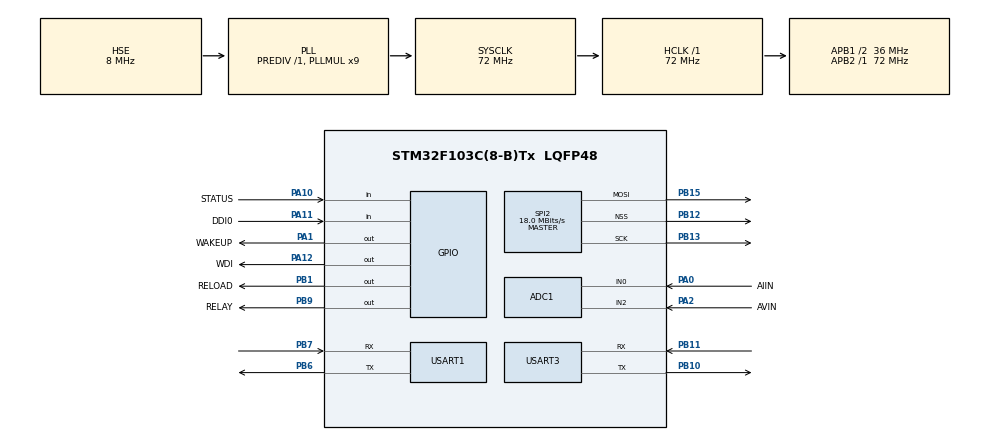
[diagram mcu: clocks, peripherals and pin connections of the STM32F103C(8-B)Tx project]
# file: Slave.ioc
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ADC1.Channel-0\#ChannelRegularConversion=ADC_CHANNEL_0
ADC1.Channel-1\#ChannelRegularConversion=ADC_CHANNEL_2
ADC1.ContinuousConvMode=ENABLE
ADC1.NbrOfConversion=2
ADC1.NbrOfConversionFlag=1
ADC1.Rank-0\#ChannelRegularConversion=1
ADC1.Rank-1\#ChannelRegularConversion=2
ADC1.SamplingTime-0\#ChannelRegularConversion=ADC_SAMPLETIME_71CYCLES_5
ADC1.SamplingTime-1\#ChannelRegularConversion=ADC_SAMPLETIME_71CYCLES_5
ADC1.master=1
Dma.ADC1.2.Direction=DMA_PERIPH_TO_MEMORY
Dma.ADC1.2.Instance=DMA1_Channel1
Dma.ADC1.2.MemDataAlignment=DMA_MDATAALIGN_WORD
Dma.ADC1.2.MemInc=DMA_MINC_ENABLE
Dma.ADC1.2.Mode=DMA_NORMAL
Dma.ADC1.2.PeriphDataAlignment=DMA_PDATAALIGN_WORD
Dma.ADC1.2.PeriphInc=DMA_PINC_DISABLE
Dma.ADC1.2.Priority=DMA_PRIORITY_MEDIUM
Dma.Request0=USART3_TX
Dma.Request1=USART3_RX
Dma.Request2=ADC1
Dma.USART3_RX.1.Direction=DMA_PERIPH_TO_MEMORY
Dma.USART3_RX.1.Instance=DMA1_Channel3
Dma.USART3_RX.1.MemDataAlignment=DMA_MDATAALIGN_BYTE
Dma.USART3_RX.1.MemInc=DMA_MINC_ENABLE
Dma.USART3_RX.1.Mode=DMA_NORMAL
Dma.USART3_RX.1.PeriphDataAlignment=DMA_PDATAALIGN_BYTE
Dma.USART3_RX.1.PeriphInc=DMA_PINC_DISABLE
Dma.USART3_RX.1.Priority=DMA_PRIORITY_HIGH
Dma.USART3_TX.0.Direction=DMA_MEMORY_TO_PERIPH
Dma.USART3_TX.0.Instance=DMA1_Channel2
Dma.USART3_TX.0.MemDataAlignment=DMA_MDATAALIGN_BYTE
Dma.USART3_TX.0.MemInc=DMA_MINC_ENABLE
Dma.USART3_TX.0.Mode=DMA_NORMAL
Dma.USART3_TX.0.PeriphDataAlignment=DMA_PDATAALIGN_BYTE
Dma.USART3_TX.0.PeriphInc=DMA_PINC_DISABLE
Dma.USART3_TX.0.Priority=DMA_PRIORITY_MEDIUM
FREERTOS.BinarySemaphores01=Recive,Dynamic,NULL
FREERTOS.Mutexes01=shellMutex,Dynamic,NULL
FREERTOS.Tasks01=shell,-2,256,Shell_Task,Default,&shell,Dynamic,NULL,NULL;modbus,-1,128,Modbus_Task,Default,NULL,Dynamic,NULL,NULL;io_output,0,128,Io_Output_Task,Default,NULL,Dynamic,NULL,NULL;at,-3,128,At_Task,Default,NULL,Dynamic,NULL,NULL
FREERTOS.Timers01=Timer1,Timer_Callback,osTimerPeriodic,Default,NULL,Dynamic,NULL
FREERTOS.configCHECK_FOR_STACK_OVERFLOW=2
FREERTOS.configMINIMAL_STACK_SIZE=64
FREERTOS.configTOTAL_HEAP_SIZE=8192
FREERTOS.configUSE_TIMERS=1
Mcu.Family=STM32F1
Mcu.Name=STM32F103C(8-B)Tx
Mcu.Package=LQFP48
NVIC.DMA1_Channel1_IRQn=true\:5\:0\:false\:false\:true\:true\:false\:true
NVIC.DMA1_Channel2_IRQn=true\:5\:0\:false\:false\:true\:true\:false\:true
NVIC.DMA1_Channel3_IRQn=true\:5\:0\:false\:false\:true\:true\:false\:true
NVIC.PriorityGroup=NVIC_PRIORITYGROUP_4
NVIC.TIM1_UP_IRQn=true\:0\:0\:false\:false\:true\:false\:false\:true
NVIC.TimeBase=TIM1_UP_IRQn
NVIC.TimeBaseIP=TIM1
NVIC.USART3_IRQn=true\:5\:0\:false\:false\:true\:true\:true\:true
PA0-WKUP.GPIO_Label=AIIN
PA0-WKUP.Signal=ADCx_IN0
PA1.GPIO_Label=WAKEUP
PA1.GPIO_PuPd=GPIO_PULLUP
PA1.GPIO_Speed=GPIO_SPEED_FREQ_LOW
PA1.PinState=GPIO_PIN_SET
PA1.Signal=GPIO_Output
PA10.GPIO_Label=STATUS
PA10.GPIO_PuPd=GPIO_PULLUP
PA10.Signal=GPIO_Input
PA11.GPIO_Label=DDI0
PA11.GPIO_PuPd=GPIO_PULLUP
PA11.Signal=GPIO_Input
PA12.GPIO_Label=WDI
PA12.GPIO_PuPd=GPIO_PULLUP
PA12.GPIO_Speed=GPIO_SPEED_FREQ_HIGH
PA12.PinState=GPIO_PIN_SET
PA12.Signal=GPIO_Output
PA13.Mode=Serial_Wire
PA13.Signal=SYS_JTMS-SWDIO
PA14.Mode=Serial_Wire
PA14.Signal=SYS_JTCK-SWCLK
PA2.GPIO_Label=AVIN
PA2.Signal=ADCx_IN2
PB1.GPIO_Label=RELOAD
PB1.GPIO_PuPd=GPIO_PULLUP
PB1.PinState=GPIO_PIN_SET
PB1.Signal=GPIO_Output
PB10.Mode=Asynchronous
PB10.Signal=USART3_TX
PB11.Mode=Asynchronous
PB11.Signal=USART3_RX
PB12.Mode=NSS_Signal_Hard_Output
PB12.Signal=SPI2_NSS
PB13.Mode=TX_Only_Simplex_Unidirect_Master
PB13.Signal=SPI2_SCK
PB15.Mode=TX_Only_Simplex_Unidirect_Master
PB15.Signal=SPI2_MOSI
PB6.Mode=Asynchronous
PB6.Signal=USART1_TX
PB7.Mode=Asynchronous
PB7.Signal=USART1_RX
PB9.GPIO_Label=RELAY
PB9.GPIO_PuPd=GPIO_PULLDOWN
PB9.GPIO_Speed=GPIO_SPEED_FREQ_HIGH
PB9.Signal=GPIO_Output
PC14-OSC32_IN.Mode=LSE-External-Oscillator
PC14-OSC32_IN.Signal=RCC_OSC32_IN
PC15-OSC32_OUT.Mode=LSE-External-Oscillator
PC15-OSC32_OUT.Signal=RCC_OSC32_OUT
PD0-OSC_IN.Mode=HSE-External-Oscillator
PD0-OSC_IN.Signal=RCC_OSC_IN
PD1-OSC_OUT.Mode=HSE-External-Oscillator
PD1-OSC_OUT.Signal=RCC_OSC_OUT
ProjectManager.HeapSize=0x200
ProjectManager.StackSize=0x800
ProjectManager.TargetToolchain=MDK-ARM V5.27
RCC.ADCPresc=RCC_ADCPCLK2_DIV6
RCC.AHBFreq_Value=72000000
RCC.APB1CLKDivider=RCC_HCLK_DIV2
RCC.APB1Freq_Value=36000000
RCC.APB1TimFreq_Value=72000000
RCC.APB2Freq_Value=72000000
RCC.APB2TimFreq_Value=72000000
RCC.HCLKFreq_Value=72000000
RCC.PLLMUL=RCC_PLL_MUL9
RCC.PLLSourceVirtual=RCC_PLLSOURCE_HSE
RCC.SYSCLKFreq_VALUE=72000000
RCC.SYSCLKSource=RCC_SYSCLKSOURCE_PLLCLK
RCC.USBFreq_Value=72000000
SH.ADCx_IN0.0=ADC1_IN0,IN0
SH.ADCx_IN2.0=ADC1_IN2,IN2
SPI2.CalculateBaudRate=18.0 MBits/s
SPI2.DataSize=SPI_DATASIZE_16BIT
SPI2.Direction=SPI_DIRECTION_2LINES
SPI2.Mode=SPI_MODE_MASTER
SPI2.VirtualNSS=VM_NSSHARD
SPI2.VirtualType=VM_MASTER
USART1.VirtualMode=VM_ASYNC
USART3.VirtualMode=VM_ASYNC
VP_FREERTOS_VS_CMSIS_V1.Mode=CMSIS_V1
VP_SYS_VS_tim1.Mode=TIM1
board=custom

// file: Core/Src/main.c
/* USER CODE BEGIN Header */
/**
  ******************************************************************************
  * @file           : main.c
  * @brief          : Main program body
  ******************************************************************************
  * @attention
  *
  * <h2><center>&copy; Copyright (c) 2022 STMicroelectronics.
  * All rights reserved.</center></h2>
  *
  * This software component is licensed by ST under Ultimate Liberty license
  * SLA0044, the "License"; You may not use this file except in compliance with
  * the License. You may obtain a copy of the License at:
  *                             www.st.com/SLA0044
  *
  ******************************************************************************
  */
/* USER CODE END Header */
#include "main.h"
#include "cmsis_os.h"
#include "adc.h"
#include "dma.h"
#include "spi.h"
#include "usart.h"
#include "gpio.h"

/* USER CODE BEGIN Includes */
#include "shell_port.h"
#include "mdrtuslave.h"
/* USER CODE END Includes */

void SystemClock_Config(void);
void MX_FREERTOS_Init(void);

int main(void)
{

  /* MCU Configuration--------------------------------------------------------*/

  /* Reset of all peripherals, Initializes the Flash interface and the Systick. */
  HAL_Init();

  /* Configure the system clock */
  SystemClock_Config();

  /* Initialize all configured peripherals */
  MX_GPIO_Init();
  MX_DMA_Init();
  MX_USART3_UART_Init();
  MX_ADC1_Init();
  MX_SPI2_Init();
  MX_USART1_UART_Init();
  /* USER CODE BEGIN 2 */
  User_Shell_Init();
  ModbusInit();
  HAL_ADC_Start_DMA(&hadc1, (uint32_t *)Adc_buffer, ADC_DMA_SIZE);
  /* USER CODE END 2 */

  /* Call init function for freertos objects (in freertos.c) */
  MX_FREERTOS_Init();
  /* Start scheduler */
  osKernelStart();

  /* We should never get here as control is now taken by the scheduler */
  /* Infinite loop */
  while (1)
  {

  }
}

void SystemClock_Config(void)
{
  RCC_OscInitTypeDef RCC_OscInitStruct = {0};
  RCC_ClkInitTypeDef RCC_ClkInitStruct = {0};
  RCC_PeriphCLKInitTypeDef PeriphClkInit = {0};

  /** Initializes the RCC Oscillators according to the specified parameters
  * in the RCC_OscInitTypeDef structure.
  */
  RCC_OscInitStruct.OscillatorType = RCC_OSCILLATORTYPE_HSE;
  RCC_OscInitStruct.HSEState = RCC_HSE_ON;
  RCC_OscInitStruct.HSEPredivValue = RCC_HSE_PREDIV_DIV1;
  RCC_OscInitStruct.HSIState = RCC_HSI_ON;
  RCC_OscInitStruct.PLL.PLLState = RCC_PLL_ON;
  RCC_OscInitStruct.PLL.PLLSource = RCC_PLLSOURCE_HSE;
  RCC_OscInitStruct.PLL.PLLMUL = RCC_PLL_MUL9;
  if (HAL_RCC_OscConfig(&RCC_OscInitStruct) != HAL_OK)
  {
    Error_Handler();
  }
  /** Initializes the CPU, AHB and APB buses clocks
  */
  RCC_ClkInitStruct.ClockType = RCC_CLOCKTYPE_HCLK|RCC_CLOCKTYPE_SYSCLK
                              |RCC_CLOCKTYPE_PCLK1|RCC_CLOCKTYPE_PCLK2;
  RCC_ClkInitStruct.SYSCLKSource = RCC_SYSCLKSOURCE_PLLCLK;
  RCC_ClkInitStruct.AHBCLKDivider = RCC_SYSCLK_DIV1;
  RCC_ClkInitStruct.APB1CLKDivider = RCC_HCLK_DIV2;
  RCC_ClkInitStruct.APB2CLKDivider = RCC_HCLK_DIV1;

  if (HAL_RCC_ClockConfig(&RCC_ClkInitStruct, FLASH_LATENCY_2) != HAL_OK)
  {
    Error_Handler();
  }
  PeriphClkInit.PeriphClockSelection = RCC_PERIPHCLK_ADC;
  PeriphClkInit.AdcClockSelection = RCC_ADCPCLK2_DIV6;
  if (HAL_RCCEx_PeriphCLKConfig(&PeriphClkInit) != HAL_OK)
  {
    Error_Handler();
  }
}

 /**
  * @brief  Period elapsed callback in non blocking mode
  * @note   This function is called  when TIM1 interrupt took place, inside
  * HAL_TIM_IRQHandler(). It makes a direct call to HAL_IncTick() to increment
  * a global variable "uwTick" used as application time base.
  * @param  htim : TIM handle
  * @retval None
  */
void HAL_TIM_PeriodElapsedCallback(TIM_HandleTypeDef *htim)
{
  if (htim->Instance == TIM1) {
    HAL_IncTick();
  }
}

void Error_Handler(void)
{
  __disable_irq();
  while (1)
  {
  }
}

/************************ (C) COPYRIGHT STMicroelectronics *****END OF FILE****/

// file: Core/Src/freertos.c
/* USER CODE BEGIN Header */
/**
  ******************************************************************************
  * File Name          : freertos.c
  * Description        : Code for freertos applications
  ******************************************************************************
  * @attention
  *
  * <h2><center>&copy; Copyright (c) 2022 STMicroelectronics.
  * All rights reserved.</center></h2>
  *
  * This software component is licensed by ST under Ultimate Liberty license
  * SLA0044, the "License"; You may not use this file except in compliance with
  * the License. You may obtain a copy of the License at:
  *                             www.st.com/SLA0044
  *
  ******************************************************************************
  */
/* USER CODE END Header */

#include "FreeRTOS.h"
#include "task.h"
#include "main.h"
#include "cmsis_os.h"

/* USER CODE BEGIN Includes */
#include "usart.h"
#include "shell.h"
#include "shell_port.h"
#include "mdrtuslave.h"
#include "io_signal.h"
/* USER CODE END Includes */

osThreadId shellHandle;
osThreadId modbusHandle;
osThreadId io_outputHandle;
osThreadId atHandle;
osTimerId Timer1Handle;
osMutexId shellMutexHandle;
osSemaphoreId ReciveHandle;

/* USER CODE BEGIN FunctionPrototypes */
GPIO_PinState g_State = GPIO_PIN_SET;
bool g_Timerout_Flag = false;
static uint32_t g_Counter = 0;
/* USER CODE END FunctionPrototypes */

void Shell_Task(void const * argument);
void Modbus_Task(void const * argument);
void Io_Output_Task(void const * argument);
void At_Task(void const * argument);
void Timer_Callback(void const * argument);

void MX_FREERTOS_Init(void); /* (MISRA C 2004 rule 8.1) */

/* GetIdleTaskMemory prototype (linked to static allocation support) */
void vApplicationGetIdleTaskMemory( StaticTask_t **ppxIdleTaskTCBBuffer, StackType_t **ppxIdleTaskStackBuffer, uint32_t *pulIdleTaskStackSize );

/* GetTimerTaskMemory prototype (linked to static allocation support) */
void vApplicationGetTimerTaskMemory( StaticTask_t **ppxTimerTaskTCBBuffer, StackType_t **ppxTimerTaskStackBuffer, uint32_t *pulTimerTaskStackSize );

/* Hook prototypes */
void vApplicationStackOverflowHook(xTaskHandle xTask, signed char *pcTaskName);

/* USER CODE BEGIN 4 */
__weak void vApplicationStackOverflowHook(xTaskHandle xTask, signed char *pcTaskName)
{
   /* Run time stack overflow checking is performed if
   configCHECK_FOR_STACK_OVERFLOW is defined to 1 or 2. This hook function is
   called if a stack overflow is detected. */
   shellPrint(&shell, "%s is stack overflow!\r\n", pcTaskName);
}
/* USER CODE END 4 */

/* USER CODE BEGIN GET_IDLE_TASK_MEMORY */
static StaticTask_t xIdleTaskTCBBuffer;
static StackType_t xIdleStack[configMINIMAL_STACK_SIZE];

void vApplicationGetIdleTaskMemory( StaticTask_t **ppxIdleTaskTCBBuffer, StackType_t **ppxIdleTaskStackBuffer, uint32_t *pulIdleTaskStackSize )
{
  *ppxIdleTaskTCBBuffer = &xIdleTaskTCBBuffer;
  *ppxIdleTaskStackBuffer = &xIdleStack[0];
  *pulIdleTaskStackSize = configMINIMAL_STACK_SIZE;
  /* place for user code */
}
/* USER CODE END GET_IDLE_TASK_MEMORY */

/* USER CODE BEGIN GET_TIMER_TASK_MEMORY */
static StaticTask_t xTimerTaskTCBBuffer;
static StackType_t xTimerStack[configTIMER_TASK_STACK_DEPTH];

void vApplicationGetTimerTaskMemory( StaticTask_t **ppxTimerTaskTCBBuffer, StackType_t **ppxTimerTaskStackBuffer, uint32_t *pulTimerTaskStackSize )
{
  *ppxTimerTaskTCBBuffer = &xTimerTaskTCBBuffer;
  *ppxTimerTaskStackBuffer = &xTimerStack[0];
  *pulTimerTaskStackSize = configTIMER_TASK_STACK_DEPTH;
  /* place for user code */
}
/* USER CODE END GET_TIMER_TASK_MEMORY */

void MX_FREERTOS_Init(void) {
  /* Create the mutex(es) */
  /* definition and creation of shellMutex */
  osMutexDef(shellMutex);
  shellMutexHandle = osMutexCreate(osMutex(shellMutex));

  /* Create the semaphores(s) */
  /* definition and creation of Recive */
  osSemaphoreDef(Recive);
  ReciveHandle = osSemaphoreCreate(osSemaphore(Recive), 1);

  /* Create the timer(s) */
  /* definition and creation of Timer1 */
  osTimerDef(Timer1, Timer_Callback);
  Timer1Handle = osTimerCreate(osTimer(Timer1), osTimerPeriodic, NULL);

  /* Create the thread(s) */
  /* definition and creation of shell */
  osThreadDef(shell, Shell_Task, osPriorityLow, 0, 256);
  shellHandle = osThreadCreate(osThread(shell), (void*) &shell);

  /* definition and creation of modbus */
  osThreadDef(modbus, Modbus_Task, osPriorityBelowNormal, 0, 128);
  modbusHandle = osThreadCreate(osThread(modbus), NULL);

  /* definition and creation of io_output */
  osThreadDef(io_output, Io_Output_Task, osPriorityNormal, 0, 128);
  io_outputHandle = osThreadCreate(osThread(io_output), NULL);

  /* definition and creation of at */
  osThreadDef(at, At_Task, osPriorityIdle, 0, 128);
  atHandle = osThreadCreate(osThread(at), NULL);

  /* USER CODE BEGIN RTOS_THREADS */
  /* add threads, ... */
  osTimerStart(Timer1Handle, 1000);
  /* USER CODE END RTOS_THREADS */

}

void Shell_Task(void const * argument)
{
  /* USER CODE BEGIN Shell_Task */
  /* Infinite loop */
  for(;;)
  {
    shellTask((void *)argument);
  }
  /* USER CODE END Shell_Task */
}

void Modbus_Task(void const * argument)
{
  /* USER CODE BEGIN Modbus_Task */
  /* Infinite loop */
  for(;;)
  {
    /*https://www.cnblogs.com/w-smile/p/11333950.html*/
    if(osOK == osSemaphoreWait(ReciveHandle, osWaitForever))
    {
      g_Timerout_Flag = false;
      g_Counter = 0;
      mdRTU_Handler();
//		shellPrint(&shell, "buf is %s \r\n", mdhandler->receiveBuffer->buf);
      // Usart3_Printf("%s\r\n", mdhandler->receiveBuffer->buf);
#if defined(USING_DEBUG)
    // shellPrint(&shell,"Mdbus_Task is running !\r\n");
#endif
    }
  }
  /* USER CODE END Modbus_Task */
}

void Io_Output_Task(void const * argument)
{
  /* USER CODE BEGIN Io_Output_Task */
  /* Infinite loop */
  for(;;)
  {
    /*Dog feed signal*/
    g_State ^=  GPIO_PIN_SET;
    HAL_GPIO_WritePin(GPIOA, WDI_Pin, g_State);
    Io_Digital_Output(g_Timerout_Flag);
    osDelay(50);
  }
  /* USER CODE END Io_Output_Task */
}

void At_Task(void const * argument)
{
  /* USER CODE BEGIN At_Task */
  /* Infinite loop */
  for(;;)
  {

	  osDelay(5);
  }
  /* USER CODE END At_Task */
}

/* Timer_Callback function */
void Timer_Callback(void const * argument)
{
  /* USER CODE BEGIN Timer_Callback */
  // Usart3_Printf("hello world !\r\n");
//	shellPrint(&shell, "hello world !\r\n");
  #define MAX_COUNTS 10U

  if (++g_Counter > MAX_COUNTS)
  {
    g_Counter = 0U;
    g_Timerout_Flag = true;

  }
  /* USER CODE END Timer_Callback */
}

/************************ (C) COPYRIGHT STMicroelectronics *****END OF FILE****/
